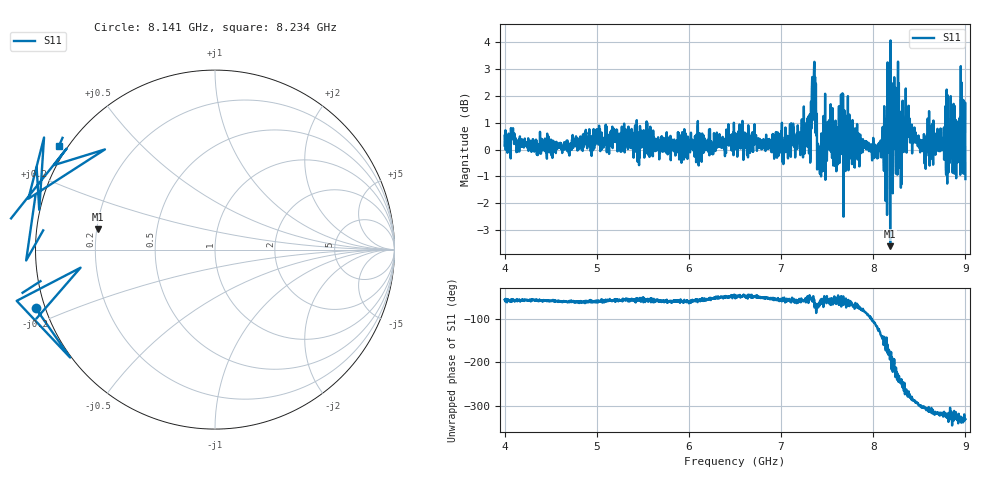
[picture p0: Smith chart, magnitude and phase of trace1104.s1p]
! Created with skrf 1.8.0 (http://scikit-rf.org).
# Hz S RI R 50.0
!freq ReS11 ImS11
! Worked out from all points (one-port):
!   1601 points, 4 GHz to 9 GHz, reference 50 ohm
!   lowest |S11| = -3.6 dB at 8.184 GHz (marker M1), VSWR 4.91, Z = 10.3 + j4.16 ohm
!   |S11| at or under -10 dB: nowhere
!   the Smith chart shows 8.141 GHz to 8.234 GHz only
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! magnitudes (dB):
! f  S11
! 4 GHz  0.1
! 4.625 GHz  -0.1
! 5.25 GHz  0.3
! 5.875 GHz  -0.1
! 6.5 GHz  0.3
! 7.038 GHz  0.0
! 7.125 GHz  0.5
! 7.297 GHz  1.2
! 7.353 GHz  1.5
! 7.416 GHz  -0.5
! 7.512 GHz  1.0
! 7.609 GHz  0.8
! 7.65 GHz  2.0
! 7.703 GHz  0.6
! 7.75 GHz  0.6
! 7.784 GHz  0.1
! 8.034 GHz  -0.3
! 8.128 GHz  0.9
! 8.184 GHz  -3.6
! 8.228 GHz  2.7
! 8.253 GHz  1.4
! 8.312 GHz  1.2
! 8.334 GHz  0.7
! 8.375 GHz  0.9
! 8.556 GHz  -0.5
! 8.922 GHz  0.0
! 8.972 GHz  0.2
! 9 GHz  -1.1
